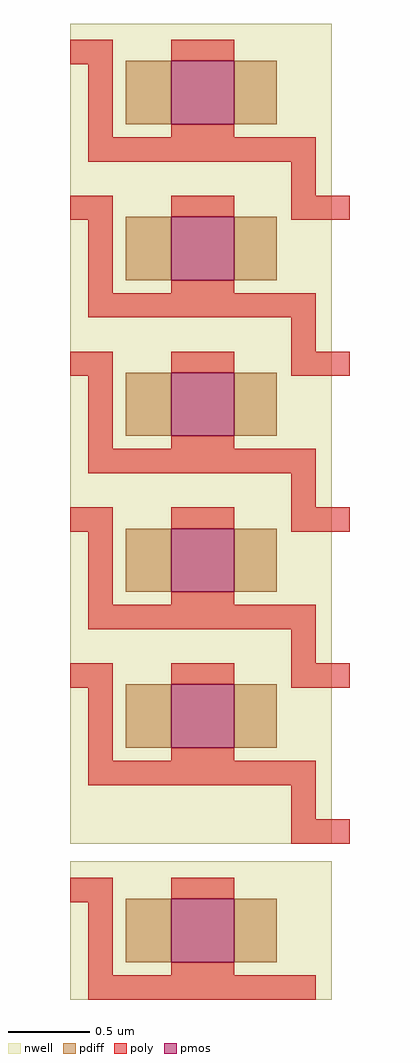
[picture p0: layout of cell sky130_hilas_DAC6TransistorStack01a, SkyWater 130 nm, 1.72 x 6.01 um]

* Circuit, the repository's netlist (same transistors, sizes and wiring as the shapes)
* Copyright 2020 The Hilas PDK Authors
* 
* This file is part of HILAS.
* 
* HILAS is free software: you can redistribute it and/or modify
* it under the terms of the GNU Lesser General Public License as published by
* the Free Software Foundation, version 3 of the License.
* 
* HILAS is distributed in the hope that it will be useful,
* but WITHOUT ANY WARRANTY; without even the implied warranty of
* MERCHANTABILITY or FITNESS FOR A PARTICULAR PURPOSE.  See the
* GNU Lesser General Public License for more details.
* 
* You should have received a copy of the GNU Lesser General Public License
* along with HILAS.  If not, see <https://www.gnu.org/licenses/>.
* 
* Licensed under the Lesser General Public License, Version 3.0 (the "License");
* you may not use this file except in compliance with the License.
* You may obtain a copy of the License at
* 
* https://www.gnu.org/licenses/lgpl-3.0.en.html
* 
* Unless required by applicable law or agreed to in writing, software
* distributed under the License is distributed on an "AS IS" BASIS,
* WITHOUT WARRANTIES OR CONDITIONS OF ANY KIND, either express or implied.
* See the License for the specific language governing permissions and
* limitations under the License.
* 
* SPDX-License-Identifier: LGPL-3.0
* 
* 

* NGSPICE file created from sky130_hilas_DAC6TransistorStack01a.ext - technology: sky130A

.subckt sky130_hilas_pFETdevice01aa SUB w_n160_n156#
X0 a_42_n38# a_n160_36# a_n92_n38# w_n160_n156# sky130_fd_pr__pfet_01v8 w=390000u l=390000u
.ends

.subckt sky130_hilas_pFETdevice01a SUB w_n160_n84#
X0 a_42_n38# a_n160_36# a_n92_n38# w_n160_n84# sky130_fd_pr__pfet_01v8 w=390000u l=390000u
.ends


* Top level circuit sky130_hilas_DAC6TransistorStack01a

Xsky130_hilas_pFETdevice01aa_0 SUB sky130_hilas_pFETdevice01a_0/w_n160_n84# sky130_hilas_pFETdevice01aa
Xsky130_hilas_pFETdevice01aa_1 SUB sky130_hilas_pFETdevice01a_0/w_n160_n84# sky130_hilas_pFETdevice01aa
Xsky130_hilas_pFETdevice01aa_2 SUB sky130_hilas_pFETdevice01a_0/w_n160_n84# sky130_hilas_pFETdevice01aa
Xsky130_hilas_pFETdevice01aa_3 SUB sky130_hilas_pFETdevice01a_0/w_n160_n84# sky130_hilas_pFETdevice01aa
Xsky130_hilas_pFETdevice01aa_4 SUB sky130_hilas_pFETdevice01a_0/w_n160_n84# sky130_hilas_pFETdevice01aa
Xsky130_hilas_pFETdevice01a_0 SUB sky130_hilas_pFETdevice01a_0/w_n160_n84# sky130_hilas_pFETdevice01a
.end

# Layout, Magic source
magic
tech sky130A
use sky130_hilas_pFETdevice01aa  sky130_hilas_pFETdevice01aa_0
transform 1 0 18 0 1 118
box 0 0 172 121
use sky130_hilas_pFETdevice01aa  sky130_hilas_pFETdevice01aa_1
transform 1 0 18 0 1 214
box 0 0 172 121
use sky130_hilas_pFETdevice01aa  sky130_hilas_pFETdevice01aa_4
transform 1 0 18 0 1 310
box 0 0 172 121
use sky130_hilas_pFETdevice01aa  sky130_hilas_pFETdevice01aa_2
transform 1 0 18 0 1 406
box 0 0 172 121
use sky130_hilas_pFETdevice01aa  sky130_hilas_pFETdevice01aa_3
transform 1 0 18 0 1 502
box 0 0 172 121
use sky130_hilas_pFETdevice01a  sky130_hilas_pFETdevice01a_0
transform 1 0 18 0 1 22
box 0 0 161 85
<< properties >>
string LEFsite unithd
string LEFclass CORE
string LEFsymmetry X Y R90
<< end >>

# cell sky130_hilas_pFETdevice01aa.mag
magic
tech sky130A
<< nwell >>
rect 0 0 161 121
<< pmos >>
rect 62 59 101 98
<< pdiff >>
rect 34 59 62 98
rect 101 59 127 98
<< poly >>
rect 0 96 26 111
rect 62 98 101 111
rect 11 51 26 96
rect 62 51 101 59
rect 11 36 151 51
rect 136 15 151 36
rect 136 0 172 15
<< properties >>
string LEFsite unithd
string LEFclass CORE
string LEFsymmetry X Y R90
<< end >>

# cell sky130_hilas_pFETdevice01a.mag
magic
tech sky130A
<< nwell >>
rect 0 0 161 85
<< pmos >>
rect 62 23 101 62
<< pdiff >>
rect 34 23 62 62
rect 101 23 127 62
<< poly >>
rect 0 60 26 75
rect 62 62 101 75
rect 11 15 26 60
rect 62 15 101 23
rect 11 0 151 15
<< properties >>
string LEFsite unithd
string LEFclass CORE
string LEFsymmetry X Y R90
<< end >>
